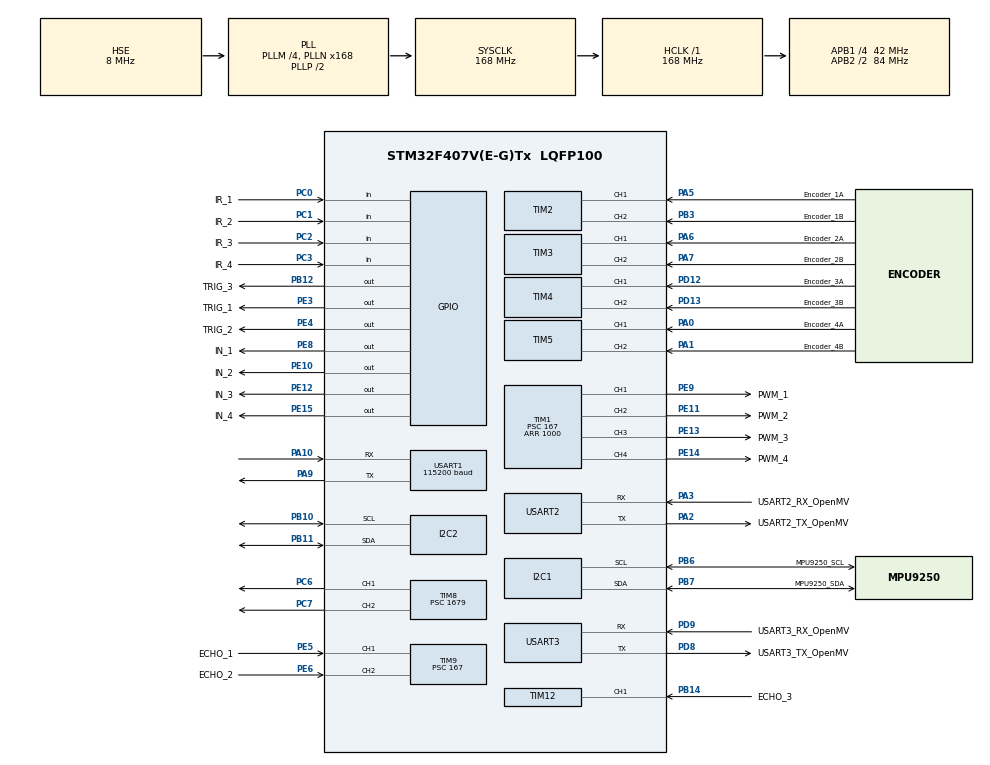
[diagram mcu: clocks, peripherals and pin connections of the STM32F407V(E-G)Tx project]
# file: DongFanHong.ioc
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I2C1.I2C_Mode=I2C_Fast
Mcu.Family=STM32F4
Mcu.Name=STM32F407V(E-G)Tx
Mcu.Package=LQFP100
NVIC.PriorityGroup=NVIC_PRIORITYGROUP_4
NVIC.TIM1_BRK_TIM9_IRQn=true\:0\:0\:false\:false\:true\:true\:true
NVIC.TIM8_BRK_TIM12_IRQn=true\:0\:0\:false\:false\:true\:true\:true
NVIC.USART1_IRQn=true\:0\:0\:false\:false\:true\:true\:true
NVIC.USART2_IRQn=true\:0\:0\:false\:false\:true\:true\:true
NVIC.USART3_IRQn=true\:0\:0\:false\:false\:true\:true\:true
PA0-WKUP.GPIO_Label=Encoder_4A
PA0-WKUP.Signal=S_TIM5_CH1
PA1.GPIO_Label=Encoder_4B
PA1.Signal=S_TIM5_CH2
PA10.Mode=Asynchronous
PA10.Signal=USART1_RX
PA13.Mode=Serial_Wire
PA13.Signal=SYS_JTMS-SWDIO
PA14.Mode=Serial_Wire
PA14.Signal=SYS_JTCK-SWCLK
PA2.GPIO_Label=USART2_TX_OpenMV
PA2.Mode=Asynchronous
PA2.Signal=USART2_TX
PA3.GPIO_Label=USART2_RX_OpenMV
PA3.Mode=Asynchronous
PA3.Signal=USART2_RX
PA5.GPIO_Label=Encoder_1A
PA5.Signal=S_TIM2_CH1_ETR
PA6.GPIO_Label=Encoder_2A
PA6.Signal=S_TIM3_CH1
PA7.GPIO_Label=Encoder_2B
PA7.Signal=S_TIM3_CH2
PA9.Mode=Asynchronous
PA9.Signal=USART1_TX
PB10.Mode=I2C
PB10.Signal=I2C2_SCL
PB11.Mode=I2C
PB11.Signal=I2C2_SDA
PB12.GPIO_Label=TRIG_3
PB12.Signal=GPIO_Output
PB14.GPIO_Label=ECHO_3
PB14.GPIO_PuPd=GPIO_NOPULL
PB14.Signal=S_TIM12_CH1
PB3.GPIO_Label=Encoder_1B
PB3.Signal=S_TIM2_CH2
PB6.GPIO_Label=MPU9250_SCL
PB6.Mode=I2C
PB6.Signal=I2C1_SCL
PB7.GPIO_Label=MPU9250_SDA
PB7.Mode=I2C
PB7.Signal=I2C1_SDA
PC0.GPIO_Label=IR_1
PC0.GPIO_PuPd=GPIO_PULLDOWN
PC0.Signal=GPIO_Input
PC1.GPIO_Label=IR_2
PC1.GPIO_PuPd=GPIO_PULLDOWN
PC1.Signal=GPIO_Input
PC14-OSC32_IN.Mode=LSE-External-Oscillator
PC14-OSC32_IN.Signal=RCC_OSC32_IN
PC15-OSC32_OUT.Mode=LSE-External-Oscillator
PC15-OSC32_OUT.Signal=RCC_OSC32_OUT
PC2.GPIO_Label=IR_3
PC2.GPIO_PuPd=GPIO_PULLDOWN
PC2.Signal=GPIO_Input
PC3.GPIO_Label=IR_4
PC3.GPIO_PuPd=GPIO_PULLDOWN
PC3.Signal=GPIO_Input
PC6.Signal=S_TIM8_CH1
PC7.Signal=S_TIM8_CH2
PD12.GPIO_Label=Encoder_3A
PD12.Signal=S_TIM4_CH1
PD13.GPIO_Label=Encoder_3B
PD13.Signal=S_TIM4_CH2
PD8.GPIO_Label=USART3_TX_OpenMV
PD8.Mode=Asynchronous
PD8.Signal=USART3_TX
PD9.GPIO_Label=USART3_RX_OpenMV
PD9.Mode=Asynchronous
PD9.Signal=USART3_RX
PE10.GPIO_Label=IN_2
PE10.Signal=GPIO_Output
PE11.GPIO_Label=PWM_2
PE11.Signal=S_TIM1_CH2
PE12.GPIO_Label=IN_3
PE12.Signal=GPIO_Output
PE13.GPIO_Label=PWM_3
PE13.Signal=S_TIM1_CH3
PE14.GPIO_Label=PWM_4
PE14.Signal=S_TIM1_CH4
PE15.GPIO_Label=IN_4
PE15.Signal=GPIO_Output
PE3.GPIO_Label=TRIG_1
PE3.Signal=GPIO_Output
PE4.GPIO_Label=TRIG_2
PE4.Signal=GPIO_Output
PE5.GPIO_Label=ECHO_1
PE5.Signal=S_TIM9_CH1
PE6.GPIO_Label=ECHO_2
PE6.Signal=S_TIM9_CH2
PE8.GPIO_Label=IN_1
PE8.Signal=GPIO_Output
PE9.GPIO_Label=PWM_1
PE9.Signal=S_TIM1_CH1
PH0-OSC_IN.Mode=HSE-External-Oscillator
PH0-OSC_IN.Signal=RCC_OSC_IN
PH1-OSC_OUT.Mode=HSE-External-Oscillator
PH1-OSC_OUT.Signal=RCC_OSC_OUT
ProjectManager.HeapSize=0x200
ProjectManager.StackSize=0x400
ProjectManager.TargetToolchain=MDK-ARM V5.32
RCC.48MHZClocksFreq_Value=84000000
RCC.AHBFreq_Value=168000000
RCC.APB1CLKDivider=RCC_HCLK_DIV4
RCC.APB1Freq_Value=42000000
RCC.APB1TimFreq_Value=84000000
RCC.APB2CLKDivider=RCC_HCLK_DIV2
RCC.APB2Freq_Value=84000000
RCC.APB2TimFreq_Value=168000000
RCC.CortexFreq_Value=168000000
RCC.HCLKFreq_Value=168000000
RCC.HSE_VALUE=8000000
RCC.HSI_VALUE=16000000
RCC.PLLM=4
RCC.PLLN=168
RCC.PLLSourceVirtual=RCC_PLLSOURCE_HSE
RCC.SYSCLKFreq_VALUE=168000000
RCC.SYSCLKSource=RCC_SYSCLKSOURCE_PLLCLK
RCC.VCOOutputFreq_Value=336000000
SH.S_TIM12_CH1.0=TIM12_CH1,Input_Capture1_from_TI1
SH.S_TIM1_CH1.0=TIM1_CH1,PWM Generation1 CH1
SH.S_TIM1_CH2.0=TIM1_CH2,PWM Generation2 CH2
SH.S_TIM1_CH3.0=TIM1_CH3,PWM Generation3 CH3
SH.S_TIM1_CH4.0=TIM1_CH4,PWM Generation4 CH4
SH.S_TIM2_CH1_ETR.0=TIM2_CH1,Encoder_Interface
SH.S_TIM2_CH2.0=TIM2_CH2,Encoder_Interface
SH.S_TIM3_CH1.0=TIM3_CH1,Encoder_Interface
SH.S_TIM3_CH2.0=TIM3_CH2,Encoder_Interface
SH.S_TIM4_CH1.0=TIM4_CH1,Encoder_Interface
SH.S_TIM4_CH2.0=TIM4_CH2,Encoder_Interface
SH.S_TIM5_CH1.0=TIM5_CH1,Encoder_Interface
SH.S_TIM5_CH2.0=TIM5_CH2,Encoder_Interface
SH.S_TIM8_CH1.0=TIM8_CH1,PWM Generation1 CH1
SH.S_TIM8_CH2.0=TIM8_CH2,PWM Generation2 CH2
SH.S_TIM9_CH1.0=TIM9_CH1,Input_Capture1_from_TI1
SH.S_TIM9_CH2.0=TIM9_CH2,Input_Capture2_from_TI2
TIM1.Channel-PWM\ Generation1\ CH1=TIM_CHANNEL_1
TIM1.Channel-PWM\ Generation2\ CH2=TIM_CHANNEL_2
TIM1.Channel-PWM\ Generation3\ CH3=TIM_CHANNEL_3
TIM1.Channel-PWM\ Generation4\ CH4=TIM_CHANNEL_4
TIM1.Period=1000
TIM1.Prescaler=167
TIM12.Channel-Input_Capture1_from_TI1=TIM_CHANNEL_1
TIM12.Prescaler=167
TIM2.EncoderMode=TIM_ENCODERMODE_TI12
TIM3.EncoderMode=TIM_ENCODERMODE_TI12
TIM4.EncoderMode=TIM_ENCODERMODE_TI12
TIM5.EncoderMode=TIM_ENCODERMODE_TI12
TIM8.Channel-PWM\ Generation1\ CH1=TIM_CHANNEL_1
TIM8.Channel-PWM\ Generation2\ CH2=TIM_CHANNEL_2
TIM8.Period=1999
TIM8.Prescaler=1679
TIM9.Channel-Input_Capture1_from_TI1=TIM_CHANNEL_1
TIM9.Channel-Input_Capture2_from_TI2=TIM_CHANNEL_2
TIM9.Prescaler=167
USART1.BaudRate=115200
USART1.VirtualMode=VM_ASYNC
USART2.VirtualMode=VM_ASYNC
USART3.VirtualMode=VM_ASYNC
VP_TIM12_VS_ClockSourceINT.Mode=Internal
VP_TIM1_VS_ClockSourceINT.Mode=Internal
VP_TIM8_VS_ClockSourceINT.Mode=Internal
VP_TIM9_VS_ClockSourceINT.Mode=Internal
board=custom

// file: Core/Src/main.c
/* USER CODE BEGIN Header */
/**
  ******************************************************************************
  * @file           : main.c
  * @brief          : Main program body
  ******************************************************************************
  * @attention
  *
  * <h2><center>&copy; Copyright (c) 2022 STMicroelectronics.
  * All rights reserved.</center></h2>
  *
  * This software component is licensed by ST under BSD 3-Clause license,
  * the "License"; You may not use this file except in compliance with the
  * License. You may obtain a copy of the License at:
  *                        opensource.org/licenses/BSD-3-Clause
  *
  ******************************************************************************
  */
/* USER CODE END Header */
#include "main.h"
#include "i2c.h"
#include "tim.h"
#include "usart.h"
#include "gpio.h"

/* USER CODE BEGIN Includes */
#include "NiMing_UpperConputer.h"
#include "stdio.h"
#include "mpu9250.h"
#include "hc_sr04.h"
#include "encoder.h"
#include "motor.h"
#include "pid.h"
#include "control.h"
#include "string.h"

uint8_t Rx_String_1[100];    //接收字符串数组
uint8_t Rx_Flag_1=0;         //接收字符串计数uint8_t Rx_Flag_4=0;         //接收字符串计数
uint8_t Rx_buff_1;           //接收缓存
int OpenMV_data_0,OpenMV_data_1,OpenMV_data_2;
/* USER CODE END Includes */

void SystemClock_Config(void);

/* USER CODE BEGIN 0 */
int set_basic_speek;
volatile int step=0;//步骤
int cnt=0;
int i=0;

/* USER CODE END 0 */

int main(void)
{

  /* MCU Configuration--------------------------------------------------------*/

  /* Reset of all peripherals, Initializes the Flash interface and the Systick. */
  HAL_Init();

  /* Configure the system clock */
  SystemClock_Config();

  /* Initialize all configured peripherals */
  MX_GPIO_Init();
  MX_USART1_UART_Init();
  MX_USART2_UART_Init();
  MX_USART3_UART_Init();
  MX_I2C1_Init();
  MX_I2C2_Init();
  MX_TIM9_Init();
  MX_TIM12_Init();
  MX_TIM2_Init();
  MX_TIM3_Init();
  MX_TIM4_Init();
  MX_TIM5_Init();
  MX_TIM1_Init();
  MX_TIM8_Init();
  /* USER CODE BEGIN 2 */

HcSr04_TIM_start();
MPU_Init();
HAL_Delay(3000);
Encoder_Init();
motor_Init();
PID_Init();
HAL_GPIO_WritePin(IR_1_GPIO_Port, IR_1_Pin,GPIO_PIN_RESET);
HAL_GPIO_WritePin(IR_2_GPIO_Port, IR_2_Pin,GPIO_PIN_RESET);

HAL_UART_Receive_IT(&huart3, (uint8_t *)&Rx_buff_1, 1);   //开启接收中断

HAL_TIM_PWM_Start(&htim8,TIM_CHANNEL_1);
HAL_TIM_PWM_Start(&htim8,TIM_CHANNEL_2);

HAL_Delay(1000);
start_flag=1;
  /* USER CODE END 2 */

  /* Infinite loop */
  /* USER CODE BEGIN WHILE */

dis_target=1800;
keep_dis_1_flag=1;
yaw_set=yaw;
keep_yaw_flag=1;
//move_flag=1;

  while (1)
  {
		cnt++;
		HAL_Delay (3000);
		set_servo_1(60);
		HAL_Delay (3000);
		set_servo_1(120);
    /* USER CODE END WHILE */

  }

}

void SystemClock_Config(void)
{
  RCC_OscInitTypeDef RCC_OscInitStruct = {0};
  RCC_ClkInitTypeDef RCC_ClkInitStruct = {0};

  /** Configure the main internal regulator output voltage
  */
  __HAL_RCC_PWR_CLK_ENABLE();
  __HAL_PWR_VOLTAGESCALING_CONFIG(PWR_REGULATOR_VOLTAGE_SCALE1);
  /** Initializes the RCC Oscillators according to the specified parameters
  * in the RCC_OscInitTypeDef structure.
  */
  RCC_OscInitStruct.OscillatorType = RCC_OSCILLATORTYPE_HSE;
  RCC_OscInitStruct.HSEState = RCC_HSE_ON;
  RCC_OscInitStruct.PLL.PLLState = RCC_PLL_ON;
  RCC_OscInitStruct.PLL.PLLSource = RCC_PLLSOURCE_HSE;
  RCC_OscInitStruct.PLL.PLLM = 4;
  RCC_OscInitStruct.PLL.PLLN = 168;
  RCC_OscInitStruct.PLL.PLLP = RCC_PLLP_DIV2;
  RCC_OscInitStruct.PLL.PLLQ = 4;
  if (HAL_RCC_OscConfig(&RCC_OscInitStruct) != HAL_OK)
  {
    Error_Handler();
  }
  /** Initializes the CPU, AHB and APB buses clocks
  */
  RCC_ClkInitStruct.ClockType = RCC_CLOCKTYPE_HCLK|RCC_CLOCKTYPE_SYSCLK
                              |RCC_CLOCKTYPE_PCLK1|RCC_CLOCKTYPE_PCLK2;
  RCC_ClkInitStruct.SYSCLKSource = RCC_SYSCLKSOURCE_PLLCLK;
  RCC_ClkInitStruct.AHBCLKDivider = RCC_SYSCLK_DIV1;
  RCC_ClkInitStruct.APB1CLKDivider = RCC_HCLK_DIV4;
  RCC_ClkInitStruct.APB2CLKDivider = RCC_HCLK_DIV2;

  if (HAL_RCC_ClockConfig(&RCC_ClkInitStruct, FLASH_LATENCY_5) != HAL_OK)
  {
    Error_Handler();
  }
}

/* USER CODE BEGIN 4 */

void set_servo_1(int vel)
{
	int pwm;
	pwm = vel/0.9+50;
	__HAL_TIM_SetCompare(&htim8, TIM_CHANNEL_1, pwm);
}

void set_servo_2(int vel)
{
	int pwm;
	pwm = vel/0.9+50;
	__HAL_TIM_SetCompare(&htim8, TIM_CHANNEL_2, pwm);
}

void HAL_UART_RxCpltCallback(UART_HandleTypeDef *huart)                                          //中断回调函数
{
		/*
		摄像头回传数据：x，y，0X0A
	*/

		if(huart == &huart3)
		{
			Rx_String_1[Rx_Flag_1++] = Rx_buff_1;  //接收字符
			if(Rx_String_1[Rx_Flag_1-1] == 0x0A) //判断是否接收结束
			{
				OpenMV_data_0 = Rx_String_1[0];
				OpenMV_data_1 = Rx_String_1[1]-80;
				OpenMV_data_2 = Rx_String_1[2]-60;
				memset(Rx_String_1,0x00,sizeof(Rx_buff_1)); //清空接收字符串
				Rx_Flag_1 = 0; //清空计数器
			}
		HAL_UART_Receive_IT(&huart3, (uint8_t *)&Rx_buff_1, 1);   //再开启接收中断
		}

		}

/* USER CODE END 4 */

void Error_Handler(void)
{
  __disable_irq();
  while (1)
  {
  }
}

/************************ (C) COPYRIGHT STMicroelectronics *****END OF FILE****/
